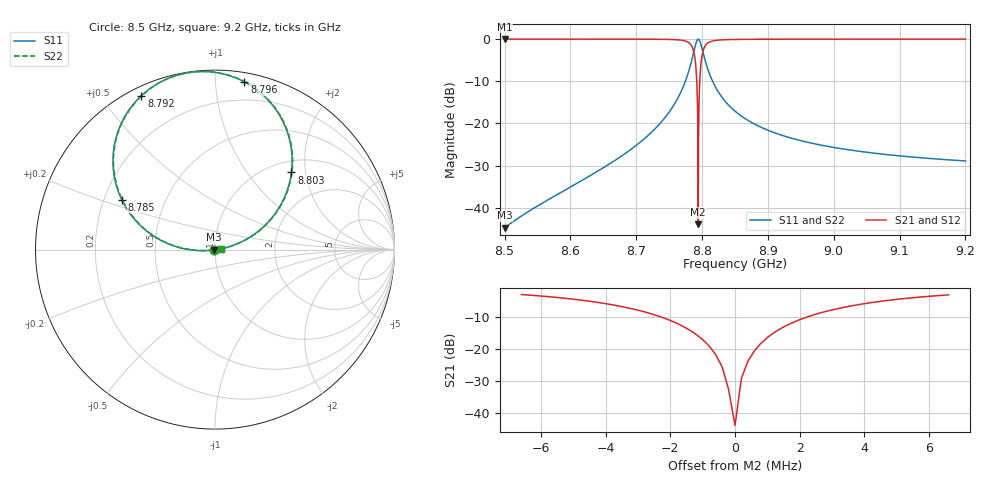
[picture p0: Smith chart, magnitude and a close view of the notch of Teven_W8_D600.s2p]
! Sonnet Data File
! From: emgraph Version : 16.52
! From Project: transmon_brg
! Data is De-embedded
! Data File Written: 11/11/2017 22:44:24
!< HDATE 11/11/2017 16:55:33
!< MDATE 11/11/2017 17:38:18
!< PARAMS
!< Lj = 15.24
!< Gap = 6.0
!< Width = 10.0
!< Airgap = 6.0
!< Pwidth = 2000.0
!< Dist = 600.0
!< END PARAMS
# GHZ S MA R 51.80000
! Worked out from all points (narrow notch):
!   3501 points, 8.5 GHz to 9.2 GHz, reference 51.8 ohm
!   highest |S21| = 0.00 dB at 8.5 GHz (marker M1); lowest = -43.9 dB at 8.794 GHz (marker M2)
!   notch at M2: 43.9 dB deep, 1.11 MHz wide at half that depth
!   lowest |S11| = -44.7 dB at 8.5 GHz (marker M3), VSWR 1.01, Z = 51.2 - j0.105 ohm
!   |S11| at or under -10 dB: start of sweep to 8.775 GHz; 8.816 GHz to end of sweep
!   |S22| runs from -44.7 to 0.0 dB; largest |S21 - S12| = 0
!   S11 on the Smith chart (normalised r, x): 8.5 GHz: 0.99, -0.00; 8.785 GHz: 0.27, +0.23; 8.792 GHz: 0.03, +0.63; 8.796 GHz: 0.06, +1.19; 8.803 GHz: 1.23, +1.67; 9.2 GHz: 1.07, +0.01
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8.5  0.005795 -169.8  1 -79.7  1 -79.7  0.005795 -169.8
!< P1 F=8.5 Eeff=(6.44695349 -2.9785e-5) Z0=(51.7999087 1.19092e-4) R=0.0 C=0.0
!< P2 F=8.5 Eeff=(6.44695349 -2.9785e-5) Z0=(51.7999087 1.19092e-4) R=0.0 C=0.0
8.6168  0.02093 -171.6  0.9998 -81.7  0.9998 -81.7  0.02093 -171.8
8.6876  0.04647 -173.7  0.9989 -83.8  0.9989 -83.8  0.04647 -174.0
8.7334  0.09457 -176.9  0.9955 -87.0  0.9955 -87.0  0.09457 -177.2
8.7558  0.1589 179.2  0.9872 -90.9  0.9872 -90.9  0.1589 178.9
8.7722  0.2825 171.8  0.959 -98.4  0.959 -98.4  0.2825 171.4
8.7798  0.4178 163.4  0.908 -106.7  0.908 -106.7  0.4178 163.1
8.785  0.5899 151.8  0.8063 -118.2  0.8063 -118.2  0.5899 151.5
8.7892  0.8056 134.2  0.5896 -135.8  0.5896 -135.8  0.8056 133.9
8.792  0.9512 115.5  0.3009 -154.1  0.3009 -154.1  0.9512 115.2
8.7942  0.9974 97.7  0.006362 -16.2  0.006362 -16.2  0.9974 97.4
8.7964  0.949 80.1  0.3078 -10.5  0.3078 -10.5  0.949 79.7
8.7992  0.8085 62.1  0.5857 -28.2  0.5857 -28.2  0.8085 61.8
8.8034  0.6052 45.3  0.7949 -45.0  0.7949 -45.0  0.6052 44.9
8.809  0.4332 33.6  0.9008 -56.6  0.9008 -56.6  0.4332 33.3
8.8168  0.306 25.7  0.9518 -64.5  0.9518 -64.5  0.306 25.3
8.8312  0.1995 19.2  0.9798 -71.0  0.9798 -71.0  0.1995 18.9
8.85  0.1398 15.6  0.9901 -74.6  0.9901 -74.6  0.1398 15.2
8.8974  0.08455 11.9  0.9964 -78.3  0.9964 -78.3  0.08455 11.6
8.9668  0.05816 9.8  0.9983 -80.4  0.9983 -80.4  0.05816 9.4
9.0834  0.04242 7.8  0.9991 -82.4  0.9991 -82.4  0.04242 7.4
9.2  0.03584 6.3  0.9994 -83.9  0.9994 -83.9  0.03584 5.9
